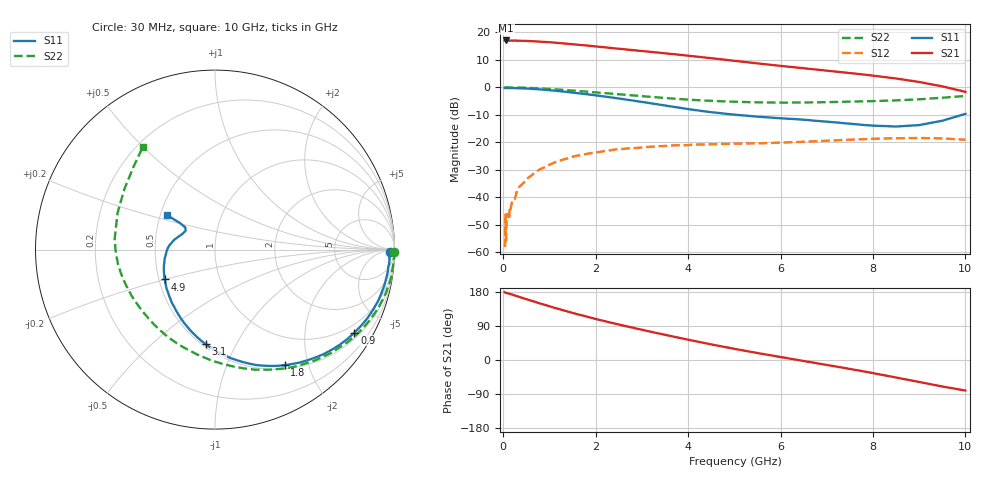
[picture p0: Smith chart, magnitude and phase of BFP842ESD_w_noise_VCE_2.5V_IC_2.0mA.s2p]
! Infineon Technologies  Discrete & RF Semiconductors
! BFP842ESD
! VCE =  2.5 V,  IC =  2.0 mA
! Common Emitter S-Parameters:  May 2012
# GHz  S  MA  R  50
!  f  S11  S21  S12  S22
! GHz  MAG  ANG  MAG  ANG  MAG  ANG  MAG  ANG
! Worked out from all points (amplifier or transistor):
!   99 points, 30 MHz to 10 GHz, reference 50 ohm
!   highest |S21| = 17.1 dB at 60 MHz (marker M1)
!   |S21| within 3 dB of that: start of sweep to 2.492 GHz
!   unconditionally stable (mu >= 1): 4.435 GHz to end of sweep
!   at 350 MHz: K = 0.07, MSG = 26.6 dB, |S12| = -36.1 dB
!   at 3.5 GHz: K = 0.78, MSG = 16.8 dB, |S12| = -21.3 dB
!   at 10 GHz: K = 2.35, MAG = 2.2 dB, |S12| = -19.0 dB
!   lowest NFmin = 0.35 dB at 450 MHz
!   S11 on the Smith chart (normalised r, x): 30 MHz: 61, -34; 900 MHz: 0.69, -3.50; 1.8 GHz: 0.55, -1.63; 3.1 GHz: 0.52, -0.76; 4.9 GHz: 0.54, -0.20; 10 GHz: 0.54, +0.23
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0.03  0.9755 -0.8  7.079 178.8  0.0014 158.4  0.9981 -0.7
0.04  0.976 -1.4  7.046 178.2  0.0013 76.7  0.9993 -0.8
0.05  0.9744 -1.6  7.012 177.5  0.0049 103.3  0.9979 -1.1
0.06  0.9702 -2.2  7.127 177.2  0.0015 133.4  0.9999 -1.5
0.07  0.9754 -2.1  7.061 177.0  0.0033 119.0  0.9988 -1.6
0.09  0.9754 -3.2  6.983 176.5  0.005 96.7  0.9977 -2.4
0.11  0.9738 -3.9  7.123 175.4  0.0044 95.3  0.9967 -2.9
0.3  0.9662 -10.4  7.056 168.3  0.0133 85.0  0.9939 -8.4
0.5  0.9529 -17.4  6.993 160.6  0.0214 75.6  0.9833 -13.9
0.9  0.9041 -30.8  6.698 145.5  0.0355 65.4  0.9464 -24.7
1.3  0.8403 -43.8  6.306 131.2  0.0488 56.0  0.9003 -35.0
1.7  0.7687 -56.0  5.872 117.9  0.0591 47.7  0.8481 -44.6
1.8  0.7519 -58.9  5.781 114.8  0.0618 45.2  0.8374 -46.9
2.3  0.6625 -73.4  5.244 99.4  0.0715 35.7  0.7753 -58.2
3.1  0.5291 -95.7  4.5 77.1  0.0823 23.4  0.6826 -76.0
3.4  0.4832 -104.4  4.246 69.2  0.0856 19.3  0.651 -82.9
4.1  0.3917 -125.5  3.69 51.1  0.0908 11.2  0.5931 -99.5
4.9  0.3256 -149.3  3.109 31.9  0.0942 2.6  0.5528 -118.3
5.1  0.3139 -154.6  2.976 27.3  0.0948 0.9  0.5453 -122.8
6.7  0.2495 172.9  2.142 -6.7  0.1046 -11.7  0.5338 -157.9
8.5  0.1944 147.5  1.45 -46.2  0.1191 -33.0  0.5802 159.3
10  0.33 144.3  0.83 -80.6  0.1118 -59.4  0.6987 125.2
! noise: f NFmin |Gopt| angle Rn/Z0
0.45  0.35  0.77  2  0.27
0.9  0.37  0.74  10  0.25
1.5  0.41  0.67  29  0.22
1.9  0.43  0.65  37  0.2
2.4  0.49  0.63  49  0.18
3.5  0.65  0.5  82  0.13
4  0.73  0.45  102  0.11
5  0.87  0.42  123  0.07
5.5  1.01  0.41  138  0.07
6  1.25  0.38  155  0.07
